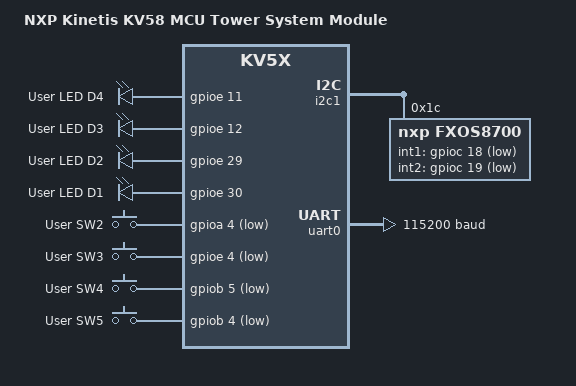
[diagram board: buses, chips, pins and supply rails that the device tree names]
/*
 * Copyright (c) 2019 SEAL AG
 *
 * SPDX-License-Identifier: Apache-2.0
 */

/dts-v1/;

#include <nxp/nxp_kv58f1m0vlx24.dtsi>
#include "twr_kv58f220m-pinctrl.dtsi"
#include <zephyr/dt-bindings/input/input-event-codes.h>

/ {
	model = "NXP Kinetis KV58 MCU Tower System Module";
	compatible = "nxp,mkv58f24", "nxp,kv58", "nxp,kv5x";

	aliases {
		led0 = &red_led;
		led1 = &green_led;
		led2 = &blue_led;
		led3 = &orange_led;
		sw0 = &user_button_0;
		sw1 = &user_button_1;
		sw2 = &user_button_2;
		sw3 = &user_button_3;
		magn0 = &fxos8700;
		accel0 = &fxos8700;
	};

	chosen {
		zephyr,sram = &sram0;
		zephyr,flash = &flash0;
		zephyr,code-partition = &slot0_partition;
		zephyr,console = &uart0;
		zephyr,shell-uart = &uart0;
		zephyr,uart-pipe = &uart0;
	};

	leds {
		compatible = "gpio-leds";
		red_led: led_0 {
			gpios = <&gpioe 11 0>;
			label = "User LED D4";
		};
		green_led: led_1 {
			gpios = <&gpioe 12 0>;
			label = "User LED D3";
		};
		blue_led: led_2 {
			gpios = <&gpioe 29 0>;
			label = "User LED D2";
		};
		orange_led: led_3 {
			gpios = <&gpioe 30 0>;
			label = "User LED D1";
		};
	};

	gpio_keys {
		compatible = "gpio-keys";
		user_button_0: button_0 {
			label = "User SW2";
			gpios = <&gpioa 4 GPIO_ACTIVE_LOW>;
			zephyr,code = <INPUT_KEY_0>;
		};
		user_button_1: button_1 {
			label = "User SW3";
			gpios = <&gpioe 4 GPIO_ACTIVE_LOW>;
			zephyr,code = <INPUT_KEY_1>;
		};
		user_button_2: button_2 {
			label = "User SW4";
			gpios = <&gpiob 5 GPIO_ACTIVE_LOW>;
			zephyr,code = <INPUT_KEY_2>;
		};
		user_button_3: button_3 {
			label = "User SW5";
			gpios = <&gpiob 4 GPIO_ACTIVE_LOW>;
			zephyr,code = <INPUT_KEY_3>;
		};
	};
};

&sim {
	pllfll-select = <KINETIS_SIM_PLLFLLSEL_MCGPLLCLK>;
	er32k-select = <KINETIS_SIM_ER32KSEL_OSC32KCLK>;
};


&gpioa {
	status = "okay";
};

&gpiob {
	status = "okay";
};

&gpioc {
	status = "okay";
};

&gpiod {
	status = "okay";
};

&gpioe {
	status = "okay";
};

&flash0 {

	partitions {
		compatible = "fixed-partitions";
		#address-cells = <1>;
		#size-cells = <1>;

		boot_partition: partition@0 {
			label = "mcuboot";
			reg = <0x00000000 0x10000>;
		};
		/* Note slot 0 has one additional sector,
		 * this is intended for use with the swap move algorithm
		 */
		slot0_partition: partition@10000 {
			label = "image-0";
			reg = <0x00010000 0x68000>;
		};
		slot1_partition: partition@78000 {
			label = "image-1";
			reg = <0x00078000 0x66000>;
		};
		storage_partition: partition@de000 {
			label = "image-scratch";
			reg = <0x000de000 0x22000>;
		};
	};
};

&i2c1 {
	status = "okay";
	pinctrl-0 = <&i2c1_default>;
	pinctrl-names = "default";

	fxos8700: fxos8700@1c {
		compatible = "nxp,fxos8700";
		reg = <0x1c>;
		int1-gpios = <&gpioc 18 GPIO_ACTIVE_LOW>;
		int2-gpios = <&gpioc 19 GPIO_ACTIVE_LOW>;
	};
};

&uart0 {
	status = "okay";
	current-speed = <115200>;
	pinctrl-0 = <&uart0_default>;
	pinctrl-names = "default";
};
